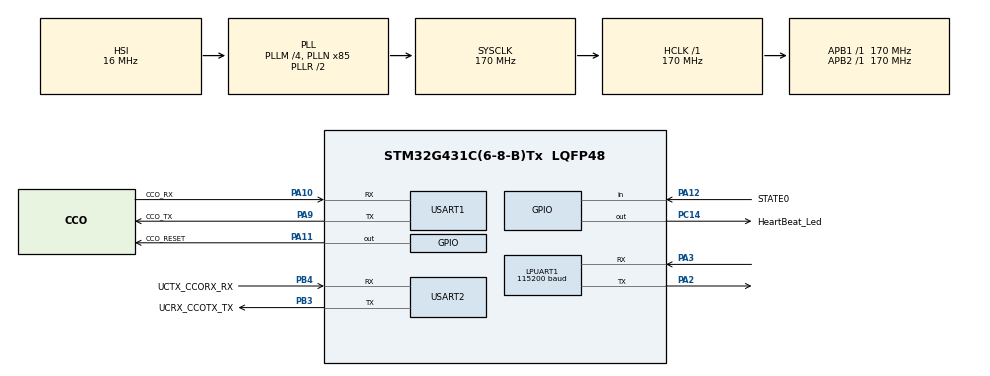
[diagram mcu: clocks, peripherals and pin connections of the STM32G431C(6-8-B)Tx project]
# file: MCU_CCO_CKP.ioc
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LPUART1.BaudRate=115200
Mcu.Family=STM32G4
Mcu.Name=STM32G431C(6-8-B)Tx
Mcu.Package=LQFP48
NVIC.LPUART1_IRQn=true\:0\:0\:false\:false\:true\:true\:true\:true
NVIC.PriorityGroup=NVIC_PRIORITYGROUP_4
NVIC.USART1_IRQn=true\:0\:0\:false\:false\:true\:true\:true\:true
NVIC.USART2_IRQn=true\:0\:0\:false\:false\:true\:true\:true\:true
PA10.GPIO_Label=CCO_RX
PA10.Mode=Asynchronous
PA10.Signal=USART1_RX
PA11.GPIO_Label=CCO_RESET
PA11.Signal=GPIO_Output
PA12.GPIO_Label=STATE0
PA12.Signal=GPIO_Input
PA13.Mode=Serial_Wire
PA13.Signal=SYS_JTMS-SWDIO
PA14.Mode=Serial_Wire
PA14.Signal=SYS_JTCK-SWCLK
PA2.Mode=Asynchronous
PA2.Signal=LPUART1_TX
PA3.Mode=Asynchronous
PA3.Signal=LPUART1_RX
PA9.GPIO_Label=CCO_TX
PA9.Mode=Asynchronous
PA9.Signal=USART1_TX
PB3.GPIO_Label=UCRX_CCOTX_TX
PB3.Mode=Asynchronous
PB3.Signal=USART2_TX
PB4.GPIO_Label=UCTX_CCORX_RX
PB4.Mode=Asynchronous
PB4.Signal=USART2_RX
PC14-OSC32_IN.GPIO_Label=HeartBeat_Led
PC14-OSC32_IN.Signal=GPIO_Output
ProjectManager.HeapSize=0x300
ProjectManager.StackSize=0x500
ProjectManager.TargetToolchain=STM32CubeIDE
RCC.ADC12Freq_Value=170000000
RCC.AHBFreq_Value=170000000
RCC.APB1Freq_Value=170000000
RCC.APB1TimFreq_Value=170000000
RCC.APB2Freq_Value=170000000
RCC.APB2TimFreq_Value=170000000
RCC.CortexFreq_Value=170000000
RCC.EXTERNAL_CLOCK_VALUE=12288000
RCC.HCLKFreq_Value=170000000
RCC.HSE_VALUE=8000000
RCC.HSI48_VALUE=48000000
RCC.HSI_VALUE=16000000
RCC.LSE_VALUE=32768
RCC.PLLM=RCC_PLLM_DIV4
RCC.PLLN=85
RCC.SYSCLKFreq_VALUE=170000000
RCC.SYSCLKSource=RCC_SYSCLKSOURCE_PLLCLK
RCC.USBFreq_Value=170000000
RCC.VCOOutputFreq_Value=340000000
USART1.Parity=PARITY_NONE
USART1.VirtualMode-Asynchronous=VM_ASYNC
USART2.VirtualMode-Asynchronous=VM_ASYNC
VP_SYS_VS_DBSignals.Mode=DisableDeadBatterySignals
board=custom

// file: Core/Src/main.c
/* USER CODE BEGIN Header */
/**
  ******************************************************************************
  * @file           : main.c
  * @brief          : Main program body
  ******************************************************************************
  * @attention
  *
  * Copyright (c) 2025 STMicroelectronics.
  * All rights reserved.
  *
  * This software is licensed under terms that can be found in the LICENSE file
  * in the root directory of this software component.
  * If no LICENSE file comes with this software, it is provided AS-IS.
  *
  ******************************************************************************
  */
/* USER CODE END Header */
#include "main.h"

/* USER CODE BEGIN Includes */
#include "uart_cco.h"
#include "com_mcu2.h"
#include <string.h>

/* USER CODE END Includes */

/* USER CODE BEGIN PTD */
#define SEARCH_INTERVAL_MS      (60000)
#define SEARCH_DURATION_MS      (30000)
/* USER CODE END PTD */

UART_HandleTypeDef hlpuart1;
UART_HandleTypeDef huart1;
UART_HandleTypeDef huart2;

void SystemClock_Config(void);
static void MX_GPIO_Init(void);
static void MX_LPUART1_UART_Init(void);
static void MX_USART1_UART_Init(void);
static void MX_USART2_UART_Init(void);

int main(void)
{

  /* MCU Configuration--------------------------------------------------------*/

  /* Reset of all peripherals, Initializes the Flash interface and the Systick. */
  HAL_Init();

  /* Configure the system clock */
  SystemClock_Config();

  /* Initialize all configured peripherals */
  MX_GPIO_Init();
  MX_LPUART1_UART_Init();
  MX_USART1_UART_Init();
  MX_USART2_UART_Init();
  /* USER CODE BEGIN 2 */
  //uart_send("UART Ready!\r\n");
  HAL_GPIO_WritePin(GPIOA, GPIO_PIN_11, 1);

  UART_CCO_Init();
  MCU2_Comm_Init();
  HAL_Delay(1500);

//  config();
  HAL_Delay(delays);
  //searching();
//  TOPOINFO();
  Save_Node();
  HAL_Delay(delays);
  UART_CCO_SendRaw("+++");
  srand(HAL_GetTick());
//  HAL_Delay(delays);
  uint32_t polling_timer  = HAL_GetTick();
  int polpwm =0;
  /* USER CODE END 2 */

  /* Infinite loop */
  /* USER CODE BEGIN WHILE */
  while (1)
  {
      if (HAL_GetTick() - polling_timer > POLLING_INTERVAL_MS)
      {
          polling_timer = HAL_GetTick();

          Save_Node();
          HAL_Delay(500);

          CCO_PollAllSTA_SENDEX();
          HAL_Delay(500);

//          if (polpwm==4){
//              CCO_PollAllSTA_PWM();
//              HAL_Delay(500);
//              polpwm=0;
//          }
//          polpwm++;

//          USART2_SendAllNodes_JSON();
//          HAL_Delay(500);
//          MCU1_ProcessMCU2Request();

      }
      MCU1_ProcessMCU2Request();

    /* USER CODE END WHILE */

  }
}

void SystemClock_Config(void)
{
  RCC_OscInitTypeDef RCC_OscInitStruct = {0};
  RCC_ClkInitTypeDef RCC_ClkInitStruct = {0};

  /** Configure the main internal regulator output voltage
  */
  HAL_PWREx_ControlVoltageScaling(PWR_REGULATOR_VOLTAGE_SCALE1_BOOST);

  /** Initializes the RCC Oscillators according to the specified parameters
  * in the RCC_OscInitTypeDef structure.
  */
  RCC_OscInitStruct.OscillatorType = RCC_OSCILLATORTYPE_HSI;
  RCC_OscInitStruct.HSIState = RCC_HSI_ON;
  RCC_OscInitStruct.HSICalibrationValue = RCC_HSICALIBRATION_DEFAULT;
  RCC_OscInitStruct.PLL.PLLState = RCC_PLL_ON;
  RCC_OscInitStruct.PLL.PLLSource = RCC_PLLSOURCE_HSI;
  RCC_OscInitStruct.PLL.PLLM = RCC_PLLM_DIV4;
  RCC_OscInitStruct.PLL.PLLN = 85;
  RCC_OscInitStruct.PLL.PLLP = RCC_PLLP_DIV2;
  RCC_OscInitStruct.PLL.PLLQ = RCC_PLLQ_DIV2;
  RCC_OscInitStruct.PLL.PLLR = RCC_PLLR_DIV2;
  if (HAL_RCC_OscConfig(&RCC_OscInitStruct) != HAL_OK)
  {
    Error_Handler();
  }

  /** Initializes the CPU, AHB and APB buses clocks
  */
  RCC_ClkInitStruct.ClockType = RCC_CLOCKTYPE_HCLK|RCC_CLOCKTYPE_SYSCLK
                              |RCC_CLOCKTYPE_PCLK1|RCC_CLOCKTYPE_PCLK2;
  RCC_ClkInitStruct.SYSCLKSource = RCC_SYSCLKSOURCE_PLLCLK;
  RCC_ClkInitStruct.AHBCLKDivider = RCC_SYSCLK_DIV1;
  RCC_ClkInitStruct.APB1CLKDivider = RCC_HCLK_DIV1;
  RCC_ClkInitStruct.APB2CLKDivider = RCC_HCLK_DIV1;

  if (HAL_RCC_ClockConfig(&RCC_ClkInitStruct, FLASH_LATENCY_4) != HAL_OK)
  {
    Error_Handler();
  }
}

static void MX_LPUART1_UART_Init(void)
{

  hlpuart1.Instance = LPUART1;
  hlpuart1.Init.BaudRate = 115200;
  hlpuart1.Init.WordLength = UART_WORDLENGTH_8B;
  hlpuart1.Init.StopBits = UART_STOPBITS_1;
  hlpuart1.Init.Parity = UART_PARITY_NONE;
  hlpuart1.Init.Mode = UART_MODE_TX_RX;
  hlpuart1.Init.HwFlowCtl = UART_HWCONTROL_NONE;
  hlpuart1.Init.OneBitSampling = UART_ONE_BIT_SAMPLE_DISABLE;
  hlpuart1.Init.ClockPrescaler = UART_PRESCALER_DIV1;
  hlpuart1.AdvancedInit.AdvFeatureInit = UART_ADVFEATURE_NO_INIT;
  if (HAL_UART_Init(&hlpuart1) != HAL_OK)
  {
    Error_Handler();
  }
  if (HAL_UARTEx_SetTxFifoThreshold(&hlpuart1, UART_TXFIFO_THRESHOLD_1_8) != HAL_OK)
  {
    Error_Handler();
  }
  if (HAL_UARTEx_SetRxFifoThreshold(&hlpuart1, UART_RXFIFO_THRESHOLD_1_8) != HAL_OK)
  {
    Error_Handler();
  }
  if (HAL_UARTEx_DisableFifoMode(&hlpuart1) != HAL_OK)
  {
    Error_Handler();
  }

}

static void MX_USART1_UART_Init(void)
{

  huart1.Instance = USART1;
  huart1.Init.BaudRate = 115200;
  huart1.Init.WordLength = UART_WORDLENGTH_9B;
  huart1.Init.StopBits = UART_STOPBITS_1;
  huart1.Init.Parity = UART_PARITY_EVEN;
  huart1.Init.Mode = UART_MODE_TX_RX;
  huart1.Init.HwFlowCtl = UART_HWCONTROL_NONE;
  huart1.Init.OverSampling = UART_OVERSAMPLING_16;
  huart1.Init.OneBitSampling = UART_ONE_BIT_SAMPLE_DISABLE;
  huart1.Init.ClockPrescaler = UART_PRESCALER_DIV1;
  huart1.AdvancedInit.AdvFeatureInit = UART_ADVFEATURE_NO_INIT;
  if (HAL_UART_Init(&huart1) != HAL_OK)
  {
    Error_Handler();
  }
  if (HAL_UARTEx_SetTxFifoThreshold(&huart1, UART_TXFIFO_THRESHOLD_1_8) != HAL_OK)
  {
    Error_Handler();
  }
  if (HAL_UARTEx_SetRxFifoThreshold(&huart1, UART_RXFIFO_THRESHOLD_1_8) != HAL_OK)
  {
    Error_Handler();
  }
  if (HAL_UARTEx_DisableFifoMode(&huart1) != HAL_OK)
  {
    Error_Handler();
  }

}

static void MX_USART2_UART_Init(void)
{

  huart2.Instance = USART2;
  huart2.Init.BaudRate = 115200;
  huart2.Init.WordLength = UART_WORDLENGTH_8B;
  huart2.Init.StopBits = UART_STOPBITS_1;
  huart2.Init.Parity = UART_PARITY_NONE;
  huart2.Init.Mode = UART_MODE_TX_RX;
  huart2.Init.HwFlowCtl = UART_HWCONTROL_NONE;
  huart2.Init.OverSampling = UART_OVERSAMPLING_16;
  huart2.Init.OneBitSampling = UART_ONE_BIT_SAMPLE_DISABLE;
  huart2.Init.ClockPrescaler = UART_PRESCALER_DIV1;
  huart2.AdvancedInit.AdvFeatureInit = UART_ADVFEATURE_NO_INIT;
  if (HAL_UART_Init(&huart2) != HAL_OK)
  {
    Error_Handler();
  }
  if (HAL_UARTEx_SetTxFifoThreshold(&huart2, UART_TXFIFO_THRESHOLD_1_8) != HAL_OK)
  {
    Error_Handler();
  }
  if (HAL_UARTEx_SetRxFifoThreshold(&huart2, UART_RXFIFO_THRESHOLD_1_8) != HAL_OK)
  {
    Error_Handler();
  }
  if (HAL_UARTEx_DisableFifoMode(&huart2) != HAL_OK)
  {
    Error_Handler();
  }

}

static void MX_GPIO_Init(void)
{
  GPIO_InitTypeDef GPIO_InitStruct = {0};

  /* GPIO Ports Clock Enable */
  __HAL_RCC_GPIOC_CLK_ENABLE();
  __HAL_RCC_GPIOA_CLK_ENABLE();
  __HAL_RCC_GPIOB_CLK_ENABLE();

  /*Configure GPIO pin Output Level */
  HAL_GPIO_WritePin(HeartBeat_Led_GPIO_Port, HeartBeat_Led_Pin, GPIO_PIN_RESET);

  /*Configure GPIO pin Output Level */
  HAL_GPIO_WritePin(CCO_RESET_GPIO_Port, CCO_RESET_Pin, GPIO_PIN_RESET);

  /*Configure GPIO pin : HeartBeat_Led_Pin */
  GPIO_InitStruct.Pin = HeartBeat_Led_Pin;
  GPIO_InitStruct.Mode = GPIO_MODE_OUTPUT_PP;
  GPIO_InitStruct.Pull = GPIO_NOPULL;
  GPIO_InitStruct.Speed = GPIO_SPEED_FREQ_LOW;
  HAL_GPIO_Init(HeartBeat_Led_GPIO_Port, &GPIO_InitStruct);

  /*Configure GPIO pin : CCO_RESET_Pin */
  GPIO_InitStruct.Pin = CCO_RESET_Pin;
  GPIO_InitStruct.Mode = GPIO_MODE_OUTPUT_PP;
  GPIO_InitStruct.Pull = GPIO_NOPULL;
  GPIO_InitStruct.Speed = GPIO_SPEED_FREQ_LOW;
  HAL_GPIO_Init(CCO_RESET_GPIO_Port, &GPIO_InitStruct);

  /*Configure GPIO pin : STATE0_Pin */
  GPIO_InitStruct.Pin = STATE0_Pin;
  GPIO_InitStruct.Mode = GPIO_MODE_INPUT;
  GPIO_InitStruct.Pull = GPIO_NOPULL;
  HAL_GPIO_Init(STATE0_GPIO_Port, &GPIO_InitStruct);

}

void Error_Handler(void)
{
  __disable_irq();
  while (1)
  {
  }
}
